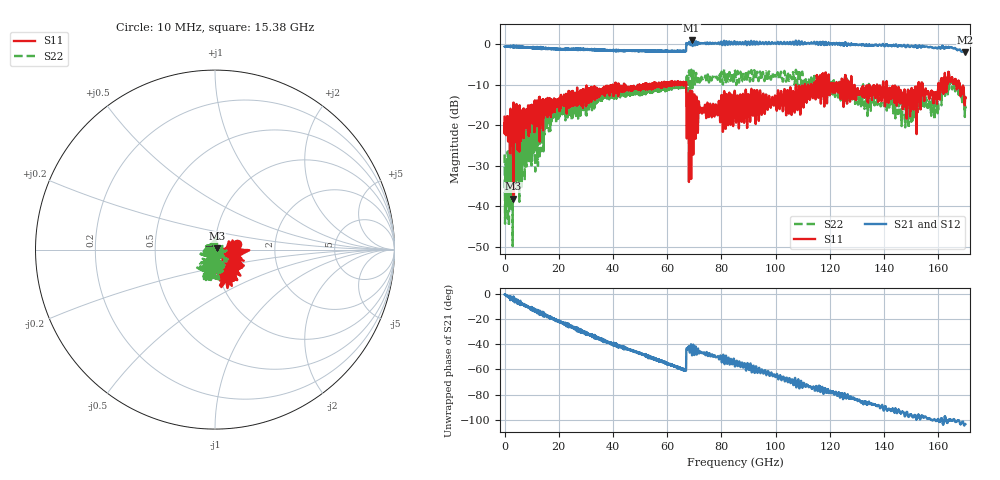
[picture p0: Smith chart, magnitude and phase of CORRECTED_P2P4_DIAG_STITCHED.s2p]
! Generated by Phase II Calibration
# Hz S RI R 50
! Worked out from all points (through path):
!   4072 points, 10 MHz to 170 GHz, reference 50 ohm
!   highest |S21| = 0.94 dB at 68.97 GHz (marker M1); lowest = -1.9 dB at 169.9 GHz (marker M2)
!   group delay of S21, straight-line fit = 1.53 ps
!   lowest |S11| = -38.1 dB at 3.234 GHz (marker M3), VSWR 1.03, Z = 51.1 + j0.635 ohm
!   |S11| at or under -10 dB: start of sweep to 39.95 GHz; 66.97 GHz to 110.8 GHz (43.79 GHz wide, 49.3 % of centre); 141.1 GHz to 152.6 GHz (11.57 GHz wide, 7.88 % of centre)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
!   |S22| runs from -49.8 to -6.1 dB; largest |S21 - S12| = 0.018
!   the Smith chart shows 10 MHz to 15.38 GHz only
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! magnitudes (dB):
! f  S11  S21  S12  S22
! 10 MHz  -17.9  -0.6  -0.5  -27.2
! 889.2 MHz  -20.7  -0.5  -0.5  -32.3
! 3.234 GHz  -38.1  -0.8  -0.8  -21.0
! 13.2 GHz  -15.8  -1.0  -1.0  -20.8
! 28.36 GHz  -14.5  -1.3  -1.3  -16.3
! 56.7 GHz  -10.0  -1.7  -1.7  -10.9
! 66.12 GHz  -10.2  -1.8  -1.8  -10.9
! 67.96 GHz  -23.1  0.2  0.2  -6.8
! 68.97 GHz  -15.5  0.9  1.0  -6.3
! 85.05 GHz  -12.8  0.2  0.2  -6.7
! 109.9 GHz  -11.8  0.3  0.3  -7.1
! 110.8 GHz  -10.7  0.4  0.3  -9.7
! 113.3 GHz  -10.6  0.3  0.3  -8.4
! 116.8 GHz  -12.6  -0.1  -0.1  -10.9
! 141.7 GHz  -14.4  -0.4  -0.4  -14.3
! 144.2 GHz  -10.9  -0.3  -0.3  -14.2
! 148.4 GHz  -16.1  -0.4  -0.3  -14.3
! 153.8 GHz  -9.4  -0.6  -0.6  -13.2
! 158 GHz  -13.9  -0.9  -0.8  -14.5
! 163.9 GHz  -6.8  -0.6  -0.7  -10.3
! 169.9 GHz  -13.1  -1.9  -2.0  -15.6
! 170 GHz  -13.1  -1.9  -2.0  -15.5
